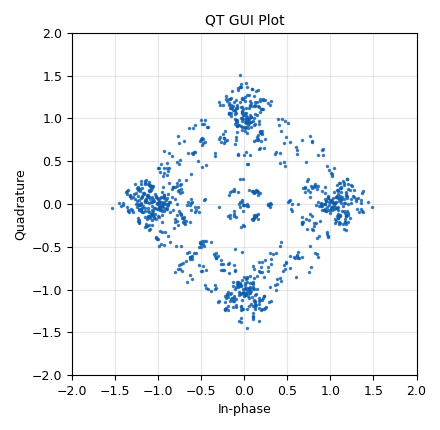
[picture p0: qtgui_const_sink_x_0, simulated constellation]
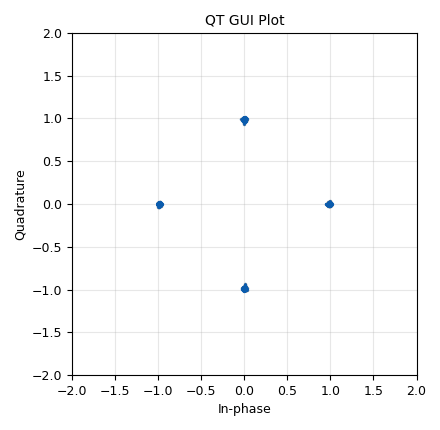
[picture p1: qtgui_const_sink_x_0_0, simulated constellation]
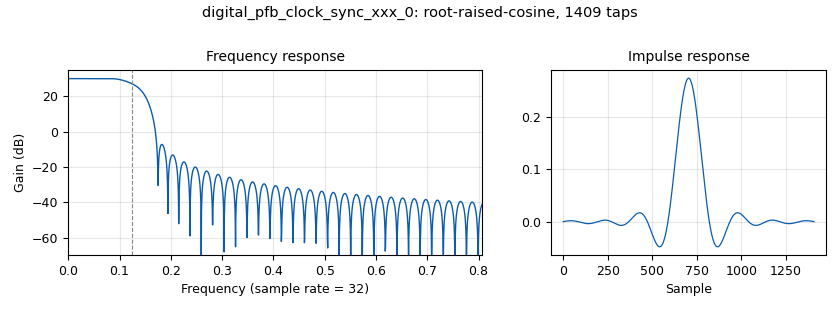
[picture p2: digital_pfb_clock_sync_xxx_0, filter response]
options:
  parameters:
    category: Custom
    generate_options: qt_gui
    id: mpsk_stage3
    output_language: python
  states: {}

blocks:
- name: arity
  id: variable
  parameters:
    value: '4'
  states: {}
- name: freq_offset
  id: variable_qtgui_range
  parameters:
    gui_hint: 2,1,1,1
    label: 'Channel: Frequency Offset'
    orient: Qt.Horizontal
    start: '-0.1'
    step: '0.001'
    stop: '0.1'
    value: '0'
  states: {}
- name: nfilts
  id: variable
  parameters:
    value: '32'
  states: {}
- name: noise_volt
  id: variable_qtgui_range
  parameters:
    gui_hint: 2,0,1,1
    label: 'Channel: Noise Voltage'
    orient: Qt.Horizontal
    start: '0'
    step: '0.01'
    stop: '1'
    value: '0.0'
  states: {}
- name: rrc_taps
  id: variable
  parameters:
    value: firdes.root_raised_cosine(nfilts, nfilts, 1.0/float(sps), 0.35, 11*sps*nfilts)
  states: {}
- name: samp_rate
  id: variable
  parameters:
    value: '32000'
  states: {}
- name: sps
  id: variable
  parameters:
    value: '4'
  states: {}
- name: taps
  id: variable
  parameters:
    value: '[1.0 + 0.0j, ]'
  states: {}
- name: time_offset
  id: variable_qtgui_range
  parameters:
    gui_hint: 3,0,1,1
    label: 'Channel: Timing Offset'
    orient: Qt.Horizontal
    start: '0.999'
    step: '0.0001'
    stop: '1.001'
    value: '1.00'
  states: {}
- name: timing_loop_bw
  id: variable_qtgui_range
  parameters:
    gui_hint: 3,1,1,1
    label: 'Time: BW'
    orient: Qt.Horizontal
    start: '0.0'
    step: '0.005'
    stop: '0.2'
    value: 6.28/100.0
  states: {}
- name: analog_random_source_x_0
  id: analog_random_source_x
  parameters:
    max: '256'
    min: '0'
    num_samps: '1000'
    repeat: 'True'
    type: byte
  states: {}
- name: blocks_throttle_0
  id: blocks_throttle
  parameters:
    samples_per_second: samp_rate
    type: complex
  states: {}
- name: channels_channel_model_0
  id: channels_channel_model
  parameters:
    epsilon: time_offset
    freq_offset: freq_offset
    noise_voltage: noise_volt
    seed: '0'
    taps: taps
  states: {}
- name: digital_pfb_clock_sync_xxx_0
  id: digital_pfb_clock_sync_xxx
  parameters:
    filter_size: nfilts
    init_phase: nfilts/2
    loop_bw: timing_loop_bw
    max_dev: '1.5'
    osps: '1'
    sps: sps
    taps: rrc_taps
    type: ccf
  states: {}
- name: digital_psk_mod_0
  id: digital_psk_mod
  parameters:
    constellation_points: arity
    differential: 'True'
    excess_bw: '0.35'
    mod_code: '"gray"'
    samples_per_symbol: sps
  states: {}
- name: qtgui_const_sink_x_0
  id: qtgui_const_sink_x
  parameters:
    gui_hint: 0,0,1,1
    name: QT GUI Plot
    size: '1024'
    type: complex
  states: {}
- name: qtgui_const_sink_x_0_0
  id: qtgui_const_sink_x
  parameters:
    gui_hint: 0,1,1,1
    name: QT GUI Plot
    size: '1024'
    type: complex
  states: {}

connections:
- [analog_random_source_x_0, '0', digital_psk_mod_0, '0']
- [blocks_throttle_0, '0', channels_channel_model_0, '0']
- [channels_channel_model_0, '0', digital_pfb_clock_sync_xxx_0, '0']
- [channels_channel_model_0, '0', qtgui_const_sink_x_0, '0']
- [digital_pfb_clock_sync_xxx_0, '0', qtgui_const_sink_x_0_0, '0']
- [digital_psk_mod_0, '0', blocks_throttle_0, '0']

metadata:
  file_format: 1
